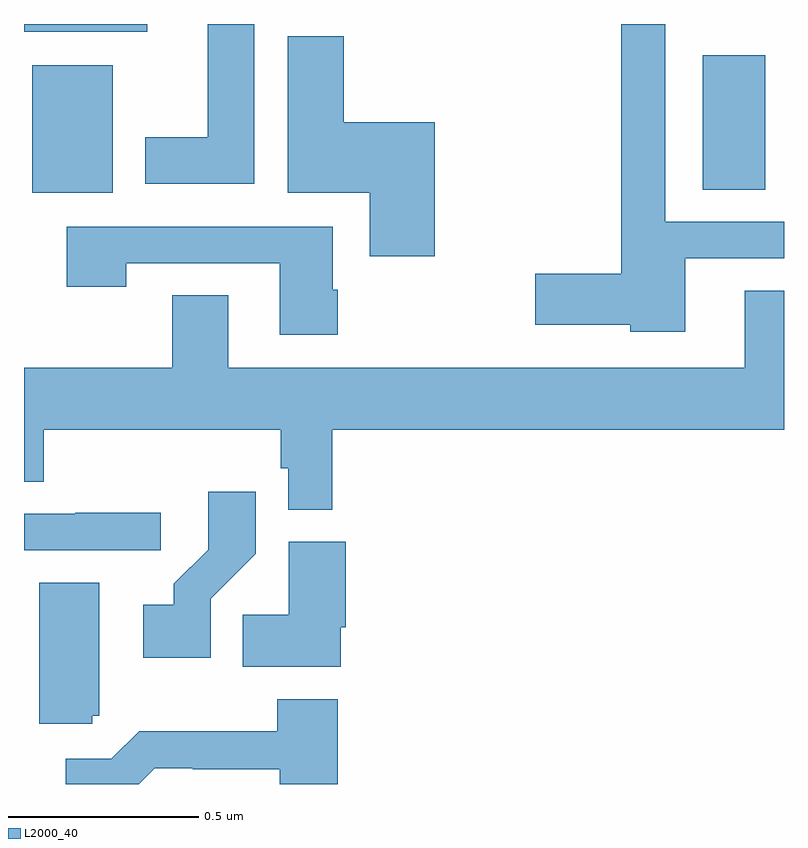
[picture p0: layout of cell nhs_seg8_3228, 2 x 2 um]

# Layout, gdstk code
import gdstk
lib = gdstk.Library(unit=1e-6, precision=1e-09)
def R(c, l, rs):  # rectangles x0, y0, x1, y1
    for r in rs: c.add(gdstk.rectangle(r[:2], r[2:], *l))
def P(c, l, *ps):  # polygons
    for p in ps: c.add(gdstk.Polygon(p, *l))
L2000_40 = (2000, 40)

nhs_seg8_3228 = lib.new_cell('nhs_seg8_3228')
R(nhs_seg8_3228, L2000_40, [(154.022,1118.456,154.234,1118.791), (155.786,1118.464,155.95,1118.818), (154,1118.88,154.324,1118.9)])
P(nhs_seg8_3228, L2000_40, [(155.74,1118.283),(156,1118.283),(156,1118.379),(155.688,1118.379),(155.688,1118.9),(155.572,1118.9),(155.572,1118.243),(155.346,1118.243),(155.346,1118.108),(155.595,1118.108),(155.595,1118.09),(155.74,1118.09)],
  [(154.606,1118.9),(154.484,1118.9),(154.484,1118.602),(154.319,1118.602),(154.319,1118.48),(154.606,1118.48)],
  [(155.081,1118.641),(154.841,1118.641),(154.841,1118.868),(154.694,1118.868),(154.694,1118.456),(154.91,1118.456),(154.91,1118.289),(155.081,1118.289)],
  [(154.826,1118.201),(154.813,1118.201),(154.813,1118.367),(154.113,1118.367),(154.113,1118.208),(154.269,1118.208),(154.269,1118.271),(154.673,1118.271),(154.673,1118.082),(154.826,1118.082)],
  [(154.811,1117.832),(156,1117.832),(156,1118.198),(155.897,1118.198),(155.897,1117.996),(154.537,1117.996),(154.537,1118.186),(154.39,1118.186),(154.39,1117.996),(154,1117.996),(154,1117.696),(154.052,1117.696),(154.052,1117.832),(154.675,1117.832),(154.675,1117.731),(154.695,1117.731),(154.695,1117.622),(154.811,1117.622)],
  [(154.491,1117.387),(154.61,1117.506),(154.61,1117.669),(154.485,1117.669),(154.485,1117.517),(154.394,1117.427),(154.394,1117.372),(154.314,1117.372),(154.314,1117.232),(154.491,1117.232)],
  [(154.36,1117.614),(154.135,1117.614),(154.135,1117.611),(154,1117.611),(154,1117.515),(154.36,1117.515)],
  [(154.834,1117.312),(154.847,1117.312),(154.847,1117.537),(154.697,1117.537),(154.697,1117.346),(154.576,1117.346),(154.576,1117.208),(154.834,1117.208)],
  [(154.179,1117.08),(154.198,1117.08),(154.198,1117.429),(154.04,1117.429),(154.04,1117.059),(154.179,1117.059)],
  [(154.344,1116.942),(154.444,1116.942),(154.444,1116.939),(154.673,1116.939),(154.673,1116.9),(154.826,1116.9),(154.826,1117.123),(154.666,1117.123),(154.666,1117.039),(154.303,1117.039),(154.23,1116.966),(154.11,1116.966),(154.11,1116.9),(154.302,1116.9)])

lib.write_gds('nhs_seg8_3228.gds')
